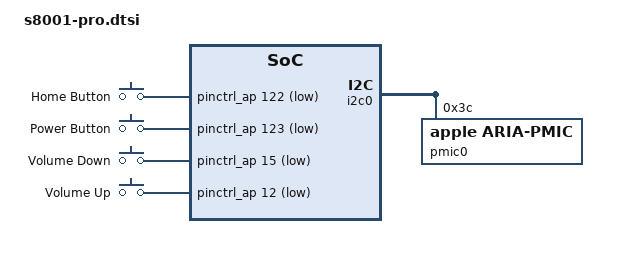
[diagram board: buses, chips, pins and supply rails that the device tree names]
// SPDX-License-Identifier: GPL-2.0+ OR MIT
/*
 * Apple iPad Pro (1st generation) common device tree
 *
 * Copyright (c) 2022, Konrad Dybcio <konradybcio@kernel.org>
 */

#include "s8001.dtsi"
#include "s8001-common.dtsi"
#include <dt-bindings/input/input.h>

/ {
	chassis-type = "tablet";

	gpio-keys {
		compatible = "gpio-keys";

		button-home {
			label = "Home Button";
			gpios = <&pinctrl_ap 122 GPIO_ACTIVE_LOW>;
			linux,code = <KEY_HOMEPAGE>;
			wakeup-source;
		};

		button-power {
			label = "Power Button";
			gpios = <&pinctrl_ap 123 GPIO_ACTIVE_LOW>;
			linux,code = <KEY_POWER>;
			wakeup-source;
		};

		button-voldown {
			label = "Volume Down";
			gpios = <&pinctrl_ap 15 GPIO_ACTIVE_LOW>;
			linux,code = <KEY_VOLUMEDOWN>;
		};

		button-volup {
			label = "Volume Up";
			gpios = <&pinctrl_ap 12 GPIO_ACTIVE_LOW>;
			linux,code = <KEY_VOLUMEUP>;
		};
	};
};

&i2c0 {
	status = "okay";

	pmic0: pmic@3c {
		compatible = "apple,aria-pmic", "apple,i2c-pmic";
		reg = <0x3c>;
		#address-cells = <1>;
		#size-cells = <1>;

		rtc@500 {
			compatible = "apple,aria-pmic-rtc", "apple,antigua-pmic-rtc";
			reg = <0x500 0x10>;
			nvmem-cells = <&rtc_offset>;
			nvmem-cell-names = "rtc_offset";
		};

		nvmem@5000 {
			compatible = "apple,pmic-nvmem";
			reg = <0x5000 0x28>;

			nvmem-layout {
				compatible = "fixed-layout";
				#address-cells = <1>;
				#size-cells = <1>;

				rtc_offset: rtc-offset@4 {
					reg = <0x4 0x4>;
				};
			};
		};
	};
};
